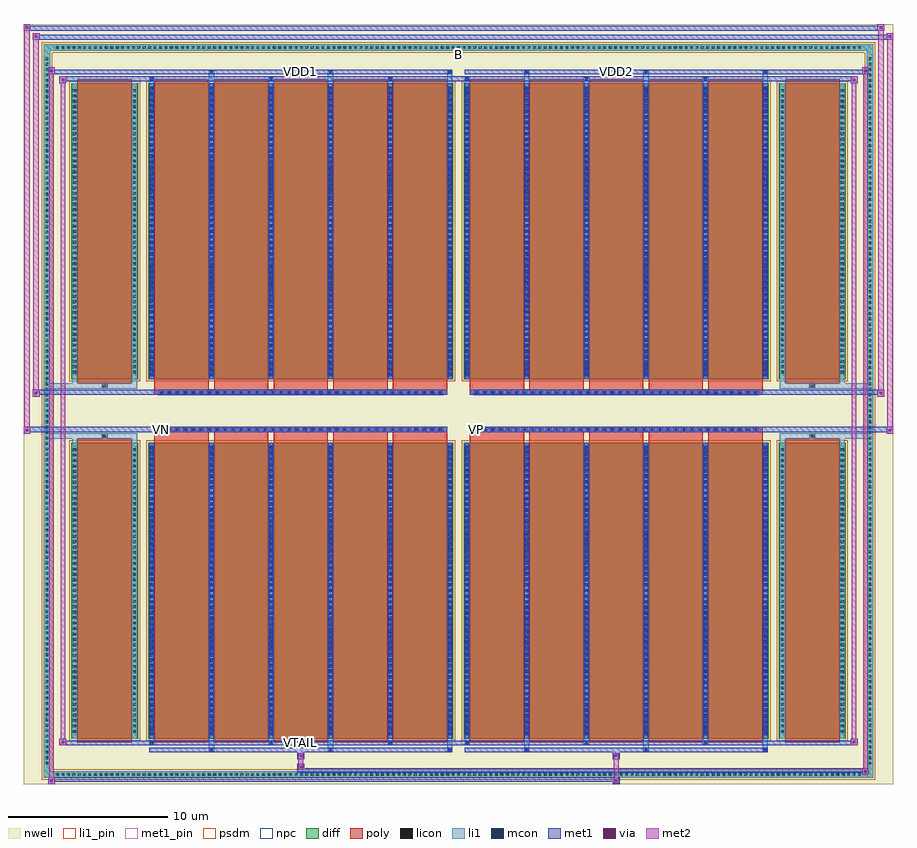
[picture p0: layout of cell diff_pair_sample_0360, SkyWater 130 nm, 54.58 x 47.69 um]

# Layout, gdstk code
import gdstk
lib = gdstk.Library(unit=1e-6, precision=5e-09)
def R(c, l, rs):  # rectangles x0, y0, x1, y1
    for r in rs: c.add(gdstk.rectangle(r[:2], r[2:], *l))
def A(c, l, x, y, w, h, nx, ny, dx, dy):  # array of equal rectangles
    R(c, l, [(x+i*dx, y+j*dy, x+i*dx+w, y+j*dy+h) for i in range(nx) for j in range(ny)])
def P(c, l, *ps):  # polygons
    for p in ps: c.add(gdstk.Polygon(p, *l))
nwell = (64, 20)
diff = (65, 20)
poly = (66, 20)
licon = (66, 44)
li1_pin = (67, 16)
li1 = (67, 20)
mcon = (67, 44)
met1_pin = (68, 16)
met1 = (68, 20)
via = (68, 44)
met2 = (69, 20)
psdm = (94, 20)
npc = (95, 20)

diff_pair_sample_0360 = lib.new_cell('diff_pair_sample_0360')
R(diff_pair_sample_0360, nwell, [(-27.29,-23.41,27.29,24.28), (-24.61,-21.6,-0.01,-0.8), (0.01,-21.6,24.61,-0.8), (-24.61,0.8,-0.01,21.6), (0.01,0.8,24.61,21.6)])
A(diff_pair_sample_0360, diff, -25.365, -23.01, 0.41, 0.41, 149, 2, 0.34, 45.61)
A(diff_pair_sample_0360, diff, -26.02, -22.305, 0.41, 0.41, 1, 131, 0, 0.34)
A(diff_pair_sample_0360, diff, 25.61, -22.305, 0.41, 0.41, 1, 131, 0, 0.34)
R(diff_pair_sample_0360, diff, [(-25.365,-23.01,25.365,-22.6), (-26.02,-22.305,-25.61,22.305), (25.61,-22.305,26.02,22.305), (-24.3,-20.555,-20.11,-1.985), (-19.47,-20.555,-0.32,-1.985), (0.32,-20.555,19.47,-1.985), (20.11,-20.555,24.3,-1.985), (-24.3,1.985,-20.11,20.555), (-19.47,1.985,-0.32,20.555), (0.32,1.985,19.47,20.555), (20.11,1.985,24.3,20.555), (-25.365,22.6,25.365,23.01)])
P(diff_pair_sample_0360, diff, [(26.02,23.01),(-26.02,23.01),(-26.02,-22.6),(-25.61,-22.6),(-25.61,22.6),(25.61,22.6),(25.61,-22.6),(-25.61,-22.6),(-26.02,-22.6),(-26.02,-23.01),(26.02,-23.01)])
A(diff_pair_sample_0360, poly, -19.08, -20.805, 3.41, 19.07, 5, 2, 3.74, 22.54)
A(diff_pair_sample_0360, poly, 0.71, -20.805, 3.41, 19.07, 5, 2, 3.74, 22.54)
A(diff_pair_sample_0360, poly, -19.08, -1.735, 3.41, 0.405, 5, 2, 3.74, 3.065)
A(diff_pair_sample_0360, poly, 0.71, -1.735, 3.41, 0.405, 5, 2, 3.74, 3.065)
A(diff_pair_sample_0360, poly, -18.81, -1.33, 0.33, 0.33, 36, 2, 0.5, 2.33)
A(diff_pair_sample_0360, poly, 0.98, -1.33, 0.33, 0.33, 36, 2, 0.5, 2.33)
R(diff_pair_sample_0360, poly, [(-23.91,-20.805,-20.5,-1.735), (20.5,-20.805,23.91,-1.735), (-22.37,-1.735,-22.04,-1.405), (-22.37,-1.735,-22.04,-1.405), (22.04,-1.735,22.37,-1.405), (22.04,-1.735,22.37,-1.405), (-19.08,-1.33,-0.71,-1), (0.71,-1.33,19.08,-1), (-19.08,1,-0.71,1.33), (0.71,1,19.08,1.33), (-22.37,1.405,-22.04,1.735), (-22.37,1.405,-22.04,1.735), (22.04,1.405,22.37,1.735), (22.04,1.405,22.37,1.735), (-23.91,1.735,-20.5,20.805), (20.5,1.735,23.91,20.805)])
A(diff_pair_sample_0360, licon, -25.245, -22.89, 0.17, 0.17, 149, 2, 0.34, 45.61)
A(diff_pair_sample_0360, licon, -25.9, -22.185, 0.17, 0.17, 1, 131, 0, 0.34)
A(diff_pair_sample_0360, licon, 25.73, -22.185, 0.17, 0.17, 1, 131, 0, 0.34)
A(diff_pair_sample_0360, licon, -24.16, -20.195, 0.17, 0.17, 1, 53, 0, 0.34)
A(diff_pair_sample_0360, licon, -20.42, -20.195, 0.17, 0.17, 1, 53, 0, 0.34)
A(diff_pair_sample_0360, licon, -19.33, -20.195, 0.17, 0.17, 6, 53, 3.74, 0.34)
A(diff_pair_sample_0360, licon, 0.46, -20.195, 0.17, 0.17, 6, 53, 3.74, 0.34)
A(diff_pair_sample_0360, licon, 20.25, -20.195, 0.17, 0.17, 1, 53, 0, 0.34)
A(diff_pair_sample_0360, licon, 23.99, -20.195, 0.17, 0.17, 1, 53, 0, 0.34)
A(diff_pair_sample_0360, licon, -18.73, -1.25, 0.17, 0.17, 36, 2, 0.5, 2.33)
A(diff_pair_sample_0360, licon, 1.06, -1.25, 0.17, 0.17, 36, 2, 0.5, 2.33)
A(diff_pair_sample_0360, licon, -24.16, 2.345, 0.17, 0.17, 1, 53, 0, 0.34)
A(diff_pair_sample_0360, licon, -20.42, 2.345, 0.17, 0.17, 1, 53, 0, 0.34)
A(diff_pair_sample_0360, licon, -19.33, 2.345, 0.17, 0.17, 6, 53, 3.74, 0.34)
A(diff_pair_sample_0360, licon, 0.46, 2.345, 0.17, 0.17, 6, 53, 3.74, 0.34)
A(diff_pair_sample_0360, licon, 20.25, 2.345, 0.17, 0.17, 1, 53, 0, 0.34)
A(diff_pair_sample_0360, licon, 23.99, 2.345, 0.17, 0.17, 1, 53, 0, 0.34)
R(diff_pair_sample_0360, licon, [(-22.29,-1.655,-22.12,-1.485), (22.12,-1.655,22.29,-1.485), (-22.29,1.485,-22.12,1.655), (22.12,1.485,22.29,1.655)])
R(diff_pair_sample_0360, li1_pin, [(-0.25,22.1,0.25,22.6)])
A(diff_pair_sample_0360, li1, -25.325, -22.97, 0.33, 0.33, 149, 2, 0.34, 45.61)
A(diff_pair_sample_0360, li1, -25.98, -22.265, 0.33, 0.33, 1, 131, 0, 0.34)
A(diff_pair_sample_0360, li1, 25.65, -22.265, 0.33, 0.33, 1, 131, 0, 0.34)
A(diff_pair_sample_0360, li1, -15.67, -21.36, 0.33, 0.805, 3, 2, 7.48, 41.915)
A(diff_pair_sample_0360, li1, -15.59, -21.36, 0.17, 0.17, 3, 2, 7.48, 42.55)
A(diff_pair_sample_0360, li1, 4.12, -21.36, 0.33, 0.805, 3, 2, 7.48, 41.915)
A(diff_pair_sample_0360, li1, 4.2, -21.36, 0.17, 0.17, 3, 2, 7.48, 42.55)
A(diff_pair_sample_0360, li1, -19.41, -20.93, 0.33, 0.375, 3, 2, 7.48, 41.485)
A(diff_pair_sample_0360, li1, -19.33, -20.93, 0.17, 0.17, 3, 2, 7.48, 41.69)
A(diff_pair_sample_0360, li1, 0.38, -20.93, 0.33, 0.375, 3, 2, 7.48, 41.485)
A(diff_pair_sample_0360, li1, 0.46, -20.93, 0.17, 0.17, 3, 2, 7.48, 41.69)
A(diff_pair_sample_0360, li1, -19.41, -20.555, 0.33, 18.57, 6, 2, 3.74, 22.54)
A(diff_pair_sample_0360, li1, 0.38, -20.555, 0.33, 18.57, 6, 2, 3.74, 22.54)
A(diff_pair_sample_0360, li1, -19.33, -20.355, 0.17, 0.17, 6, 51, 3.74, 0.36)
A(diff_pair_sample_0360, li1, -19.33, -20.355, 0.17, 18.17, 6, 2, 3.74, 22.54)
A(diff_pair_sample_0360, li1, 0.46, -20.355, 0.17, 0.17, 6, 51, 3.74, 0.36)
A(diff_pair_sample_0360, li1, 0.46, -20.355, 0.17, 18.17, 6, 2, 3.74, 22.54)
A(diff_pair_sample_0360, li1, -24.24, -20.275, 0.33, 0.33, 1, 53, 0, 0.34)
A(diff_pair_sample_0360, li1, -20.5, -20.275, 0.33, 0.33, 1, 53, 0, 0.34)
A(diff_pair_sample_0360, li1, -19.41, -20.275, 0.33, 0.33, 6, 53, 3.74, 0.34)
A(diff_pair_sample_0360, li1, 0.38, -20.275, 0.33, 0.33, 6, 53, 3.74, 0.34)
A(diff_pair_sample_0360, li1, 20.17, -20.275, 0.33, 0.33, 1, 53, 0, 0.34)
A(diff_pair_sample_0360, li1, 23.91, -20.275, 0.33, 0.33, 1, 53, 0, 0.34)
A(diff_pair_sample_0360, li1, -18.81, -1.33, 0.33, 0.33, 36, 2, 0.5, 2.33)
A(diff_pair_sample_0360, li1, 0.98, -1.33, 0.33, 0.33, 36, 2, 0.5, 2.33)
A(diff_pair_sample_0360, li1, -19.33, 2.185, 0.17, 0.17, 6, 51, 3.74, 0.36)
A(diff_pair_sample_0360, li1, 0.46, 2.185, 0.17, 0.17, 6, 51, 3.74, 0.36)
A(diff_pair_sample_0360, li1, -24.24, 2.265, 0.33, 0.33, 1, 53, 0, 0.34)
A(diff_pair_sample_0360, li1, -20.5, 2.265, 0.33, 0.33, 1, 53, 0, 0.34)
A(diff_pair_sample_0360, li1, -19.41, 2.265, 0.33, 0.33, 6, 53, 3.74, 0.34)
A(diff_pair_sample_0360, li1, 0.38, 2.265, 0.33, 0.33, 6, 53, 3.74, 0.34)
A(diff_pair_sample_0360, li1, 20.17, 2.265, 0.33, 0.33, 1, 53, 0, 0.34)
A(diff_pair_sample_0360, li1, 23.91, 2.265, 0.33, 0.33, 1, 53, 0, 0.34)
R(diff_pair_sample_0360, li1, [(-26.02,-23.01,-25.61,-22.6), (-26.02,-23.01,-25.61,-22.6), (-25.61,-23.01,25.61,-22.6), (25.61,-23.01,26.02,-22.6), (25.61,-23.01,26.02,-22.6), (-26.02,-22.6,-25.61,22.6), (25.61,-22.6,26.02,22.6), (-24.24,-20.555,-23.91,-1.985), (-20.5,-20.555,-20.17,-1.985), (20.17,-20.555,20.5,-1.985), (23.91,-20.555,24.24,-1.985), (-24.24,-1.985,-23.91,-1.405), (-20.5,-1.985,-20.17,-1.405), (20.17,-1.985,20.5,-1.405), (23.91,-1.985,24.24,-1.405), (-26.02,-1.735,-22.37,-1.405), (-24.24,-1.735,-22.37,-1.405), (-22.37,-1.735,-22.04,-1.405), (-22.04,-1.735,-20.17,-1.405), (20.17,-1.735,22.04,-1.405), (22.04,-1.735,22.37,-1.405), (22.04,-1.735,26.02,-1.405), (22.37,-1.735,24.24,-1.405), (-26.02,1.405,-22.37,1.735), (-24.24,1.405,-22.37,1.735), (-24.24,1.405,-23.91,1.985), (-22.37,1.405,-22.04,1.735), (-22.04,1.405,-20.17,1.735), (-20.5,1.405,-20.17,1.985), (20.17,1.405,22.04,1.735), (20.17,1.405,20.5,1.985), (22.04,1.405,22.37,1.735), (22.04,1.405,26.02,1.735), (22.37,1.405,24.24,1.735), (23.91,1.405,24.24,1.985), (-24.24,1.985,-23.91,20.555), (-20.5,1.985,-20.17,20.555), (20.17,1.985,20.5,20.555), (23.91,1.985,24.24,20.555), (-26.02,22.6,-25.61,23.01), (-26.02,22.6,-25.61,23.01), (-25.61,22.6,25.61,23.01), (25.61,22.6,26.02,23.01), (25.61,22.6,26.02,23.01)])
A(diff_pair_sample_0360, mcon, -15.59, -21.36, 0.17, 0.17, 3, 2, 7.48, 42.55)
A(diff_pair_sample_0360, mcon, 4.2, -21.36, 0.17, 0.17, 3, 2, 7.48, 42.55)
A(diff_pair_sample_0360, mcon, -19.33, -20.93, 0.17, 0.17, 3, 2, 7.48, 41.69)
A(diff_pair_sample_0360, mcon, 0.46, -20.93, 0.17, 0.17, 3, 2, 7.48, 41.69)
A(diff_pair_sample_0360, mcon, -19.33, -20.355, 0.17, 0.17, 6, 51, 3.74, 0.36)
A(diff_pair_sample_0360, mcon, 0.46, -20.355, 0.17, 0.17, 6, 51, 3.74, 0.36)
A(diff_pair_sample_0360, mcon, -18.73, -1.25, 0.17, 0.17, 36, 2, 0.5, 2.33)
A(diff_pair_sample_0360, mcon, 1.06, -1.25, 0.17, 0.17, 36, 2, 0.5, 2.33)
A(diff_pair_sample_0360, mcon, -19.33, 2.185, 0.17, 0.17, 6, 51, 3.74, 0.36)
A(diff_pair_sample_0360, mcon, 0.46, 2.185, 0.17, 0.17, 6, 51, 3.74, 0.36)
R(diff_pair_sample_0360, met1_pin, [(-10.03,-20.97,-9.76,-20.7), (-18.78,-1.29,-18.51,-1.02), (1.01,-1.29,1.28,-1.02), (-10.03,21.15,-9.76,21.42), (9.76,21.15,10.03,21.42)])
A(diff_pair_sample_0360, met1, -15.65, -21.42, 0.29, 0.29, 3, 2, 7.48, 42.55)
A(diff_pair_sample_0360, met1, 4.14, -21.42, 0.29, 0.29, 3, 2, 7.48, 42.55)
A(diff_pair_sample_0360, met1, -19.39, -20.99, 0.29, 0.29, 3, 2, 7.48, 41.69)
A(diff_pair_sample_0360, met1, 0.4, -20.99, 0.29, 0.29, 3, 2, 7.48, 41.69)
A(diff_pair_sample_0360, met1, -19.39, -20.555, 0.29, 18.57, 6, 2, 3.74, 22.54)
A(diff_pair_sample_0360, met1, 0.4, -20.555, 0.29, 18.57, 6, 2, 3.74, 22.54)
A(diff_pair_sample_0360, met1, -19.39, -20.415, 0.29, 0.29, 6, 51, 3.74, 0.36)
A(diff_pair_sample_0360, met1, 0.4, -20.415, 0.29, 0.29, 6, 51, 3.74, 0.36)
A(diff_pair_sample_0360, met1, -18.79, -1.31, 0.29, 0.29, 36, 2, 0.5, 2.33)
A(diff_pair_sample_0360, met1, 1, -1.31, 0.29, 0.29, 36, 2, 0.5, 2.33)
A(diff_pair_sample_0360, met1, -19.39, 2.125, 0.29, 0.29, 6, 51, 3.74, 0.36)
A(diff_pair_sample_0360, met1, 0.4, 2.125, 0.29, 0.29, 6, 51, 3.74, 0.36)
R(diff_pair_sample_0360, met1, [(-25.75,-23.41,-25.32,-22.98), (9.68,-23.41,10.11,-22.98), (-25.75,-23.27,10.11,-22.98), (25.32,-22.84,25.75,-22.41), (-10.11,-22.7,25.75,-22.41), (-10.11,-22.56,-9.68,-22.13), (-10.11,-21.85,-9.68,-21.42), (9.68,-21.85,10.11,-21.42), (-19.39,-21.42,-0.4,-21.13), (0.4,-21.42,19.39,-21.13), (-25.04,-20.99,-24.61,-20.56), (-25.04,-20.99,-19.39,-20.7), (-19.39,-20.99,-0.4,-20.7), (-0.4,-20.99,0.4,-20.7), (0.4,-20.99,19.39,-20.7), (19.39,-20.99,25.04,-20.7), (24.61,-20.99,25.04,-20.56), (-27.29,-1.43,-26.86,-1), (26.86,-1.43,27.29,-1), (-27.29,-1.33,-0.71,-1), (-19.08,-1.33,-0.71,-1), (0.71,-1.33,19.08,-1), (0.71,-1.33,27.29,-1), (-26.72,0.9,-26.29,1.33), (26.29,0.9,26.72,1.33), (-26.72,1,-19.08,1.33), (-19.08,1,-0.71,1.33), (0.71,1,19.08,1.33), (19.08,1,26.72,1.33), (-25.04,20.56,-24.61,20.99), (24.61,20.56,25.04,20.99), (-25.04,20.7,-19.39,20.99), (-19.39,20.7,-0.4,20.99), (-0.4,20.7,0.4,20.99), (0.4,20.7,19.39,20.99), (19.39,20.7,25.04,20.99), (-25.75,21.13,-25.32,21.56), (-25.75,21.13,-19.39,21.42), (-19.39,21.13,-0.4,21.42), (0.4,21.13,19.39,21.42), (19.39,21.13,25.75,21.42), (25.32,21.13,25.75,21.56), (-26.72,23.28,-26.29,23.71), (-26.72,23.28,-24.61,23.61), (-24.61,23.28,24.61,23.61), (24.61,23.28,27.29,23.61), (26.86,23.28,27.29,23.71), (-27.29,23.85,-26.86,24.28), (-27.29,23.85,-24.61,24.18), (-24.61,23.85,24.61,24.18), (24.61,23.85,26.72,24.18), (26.29,23.85,26.72,24.28)])
R(diff_pair_sample_0360, via, [(-25.61,-23.27,-25.46,-23.12), (9.82,-23.27,9.97,-23.12), (25.46,-22.7,25.61,-22.55), (-9.97,-22.42,-9.82,-22.27), (-9.97,-21.71,-9.82,-21.56), (9.82,-21.71,9.97,-21.56), (-24.9,-20.85,-24.75,-20.7), (24.75,-20.85,24.9,-20.7), (-27.15,-1.29,-27,-1.14), (27,-1.29,27.15,-1.14), (-26.58,1.04,-26.43,1.19), (26.43,1.04,26.58,1.19), (-24.9,20.7,-24.75,20.85), (24.75,20.7,24.9,20.85), (-25.61,21.27,-25.46,21.42), (25.46,21.27,25.61,21.42), (-26.58,23.42,-26.43,23.57), (27,23.42,27.15,23.57), (-27.15,23.99,-27,24.14), (26.43,23.99,26.58,24.14)])
R(diff_pair_sample_0360, met2, [(-25.75,-23.41,-25.32,-22.98), (-25.68,-23.41,-25.39,21.56), (-25.39,-23.41,-25.32,-22.98), (-25.7,-23.36,-25.37,-23.03), (9.73,-23.36,10.06,-23.03), (9.73,-23.03,10.06,-21.8), (25.32,-22.84,25.75,-22.41), (25.39,-22.84,25.68,21.56), (25.68,-22.84,25.75,-22.41), (25.37,-22.79,25.7,-22.46), (-10.06,-22.51,-9.73,-22.18), (-10.06,-22.18,-9.73,-21.8), (-10.06,-21.8,-9.73,-21.47), (9.73,-21.8,10.06,-21.47), (-25.04,-20.99,-24.61,-20.56), (-24.97,-20.99,-24.68,20.99), (-24.68,-20.99,-24.61,-20.56), (24.61,-20.99,25.04,-20.56), (24.68,-20.99,24.97,20.99), (24.97,-20.99,25.04,-20.56), (-24.99,-20.94,-24.66,-20.61), (24.66,-20.94,24.99,-20.61), (-27.29,-1.43,-26.86,-1), (-27.24,-1.43,-26.91,24.28), (-26.91,-1.43,-26.86,-1), (26.86,-1.43,27.29,-1), (26.91,-1.43,27.24,23.71), (27.24,-1.43,27.29,-1), (-27.24,-1.38,-26.91,-1.05), (26.91,-1.38,27.24,-1.05), (-26.72,0.9,-26.29,1.33), (-26.67,0.9,-26.34,23.71), (-26.34,0.9,-26.29,1.33), (26.29,0.9,26.72,1.33), (26.34,0.9,26.67,24.28), (26.67,0.9,26.72,1.33), (-26.67,0.95,-26.34,1.28), (26.34,0.95,26.67,1.28), (-25.04,20.56,-24.61,20.99), (-24.68,20.56,-24.61,20.99), (24.61,20.56,25.04,20.99), (24.97,20.56,25.04,20.99), (-24.99,20.61,-24.66,20.94), (24.66,20.61,24.99,20.94), (-25.75,21.13,-25.32,21.56), (-25.39,21.13,-25.32,21.56), (25.32,21.13,25.75,21.56), (25.68,21.13,25.75,21.56), (-25.7,21.18,-25.37,21.51), (25.37,21.18,25.7,21.51), (-26.72,23.28,-26.29,23.71), (-26.34,23.28,-26.29,23.71), (26.86,23.28,27.29,23.71), (27.24,23.28,27.29,23.71), (-26.67,23.33,-26.34,23.66), (26.91,23.33,27.24,23.66), (-27.29,23.85,-26.86,24.28), (-26.91,23.85,-26.86,24.28), (26.29,23.85,26.72,24.28), (26.67,23.85,26.72,24.28), (-27.24,23.9,-26.91,24.23), (26.34,23.9,26.67,24.23)])
R(diff_pair_sample_0360, psdm, [(-24.43,-20.685,-19.98,-1.855), (-19.6,-20.685,-0.19,-1.855), (0.19,-20.685,19.6,-1.855), (19.98,-20.685,24.43,-1.855), (-24.43,1.855,-19.98,20.685), (-19.6,1.855,-0.19,20.685), (0.19,1.855,19.6,20.685), (19.98,1.855,24.43,20.685)])
P(diff_pair_sample_0360, psdm, [(26.15,23.14),(-26.15,23.14),(-26.15,-22.47),(-25.48,-22.47),(-25.48,22.47),(25.48,22.47),(25.48,-22.47),(-25.48,-22.47),(-26.15,-22.47),(-26.15,-23.14),(26.15,-23.14)])
A(diff_pair_sample_0360, npc, -18.83, -1.35, 0.37, 0.37, 36, 2, 0.5, 2.33)
A(diff_pair_sample_0360, npc, 0.96, -1.35, 0.37, 0.37, 36, 2, 0.5, 2.33)
R(diff_pair_sample_0360, npc, [(-22.39,-1.755,-22.02,-1.385), (22.02,-1.755,22.39,-1.385), (-18.83,-1.35,-17.96,-0.98), (-18.83,-1.35,-17.96,-0.98), (-18.33,-1.35,-17.46,-0.98), (-18.33,-1.35,-17.46,-0.98), (-17.83,-1.35,-16.96,-0.98), (-17.83,-1.35,-16.96,-0.98), (-17.33,-1.35,-16.46,-0.98), (-17.33,-1.35,-16.46,-0.98), (-16.83,-1.35,-15.96,-0.98), (-16.83,-1.35,-15.96,-0.98), (-16.33,-1.35,-15.46,-0.98), (-16.33,-1.35,-15.46,-0.98), (-15.83,-1.35,-14.96,-0.98), (-15.83,-1.35,-14.96,-0.98), (-15.33,-1.35,-14.46,-0.98), (-15.33,-1.35,-14.46,-0.98), (-14.83,-1.35,-13.96,-0.98), (-14.83,-1.35,-13.96,-0.98), (-14.33,-1.35,-13.46,-0.98), (-14.33,-1.35,-13.46,-0.98), (-13.83,-1.35,-12.96,-0.98), (-13.83,-1.35,-12.96,-0.98), (-13.33,-1.35,-12.46,-0.98), (-13.33,-1.35,-12.46,-0.98), (-12.83,-1.35,-11.96,-0.98), (-12.83,-1.35,-11.96,-0.98), (-12.33,-1.35,-11.46,-0.98), (-12.33,-1.35,-11.46,-0.98), (-11.83,-1.35,-10.96,-0.98), (-11.83,-1.35,-10.96,-0.98), (-11.33,-1.35,-10.46,-0.98), (-11.33,-1.35,-10.46,-0.98), (-10.83,-1.35,-9.96,-0.98), (-10.83,-1.35,-9.96,-0.98), (-10.33,-1.35,-9.46,-0.98), (-10.33,-1.35,-9.46,-0.98), (-9.83,-1.35,-8.96,-0.98), (-9.83,-1.35,-8.96,-0.98), (-9.33,-1.35,-8.46,-0.98), (-9.33,-1.35,-8.46,-0.98), (-8.83,-1.35,-7.96,-0.98), (-8.83,-1.35,-7.96,-0.98), (-8.33,-1.35,-7.46,-0.98), (-8.33,-1.35,-7.46,-0.98), (-7.83,-1.35,-6.96,-0.98), (-7.83,-1.35,-6.96,-0.98), (-7.33,-1.35,-6.46,-0.98), (-7.33,-1.35,-6.46,-0.98), (-6.83,-1.35,-5.96,-0.98), (-6.83,-1.35,-5.96,-0.98), (-6.33,-1.35,-5.46,-0.98), (-6.33,-1.35,-5.46,-0.98), (-5.83,-1.35,-4.96,-0.98), (-5.83,-1.35,-4.96,-0.98), (-5.33,-1.35,-4.46,-0.98), (-5.33,-1.35,-4.46,-0.98), (-4.83,-1.35,-3.96,-0.98), (-4.83,-1.35,-3.96,-0.98), (-4.33,-1.35,-3.46,-0.98), (-4.33,-1.35,-3.46,-0.98), (-3.83,-1.35,-2.96,-0.98), (-3.83,-1.35,-2.96,-0.98), (-3.33,-1.35,-2.46,-0.98), (-3.33,-1.35,-2.46,-0.98), (-2.83,-1.35,-1.96,-0.98), (-2.83,-1.35,-1.96,-0.98), (-2.33,-1.35,-1.46,-0.98), (-2.33,-1.35,-1.46,-0.98), (-1.83,-1.35,-0.96,-0.98), (-1.83,-1.35,-0.96,-0.98), (0.96,-1.35,1.83,-0.98), (0.96,-1.35,1.83,-0.98), (1.46,-1.35,2.33,-0.98), (1.46,-1.35,2.33,-0.98), (1.96,-1.35,2.83,-0.98), (1.96,-1.35,2.83,-0.98), (2.46,-1.35,3.33,-0.98), (2.46,-1.35,3.33,-0.98), (2.96,-1.35,3.83,-0.98), (2.96,-1.35,3.83,-0.98), (3.46,-1.35,4.33,-0.98), (3.46,-1.35,4.33,-0.98), (3.96,-1.35,4.83,-0.98), (3.96,-1.35,4.83,-0.98), (4.46,-1.35,5.33,-0.98), (4.46,-1.35,5.33,-0.98), (4.96,-1.35,5.83,-0.98), (4.96,-1.35,5.83,-0.98), (5.46,-1.35,6.33,-0.98), (5.46,-1.35,6.33,-0.98), (5.96,-1.35,6.83,-0.98), (5.96,-1.35,6.83,-0.98), (6.46,-1.35,7.33,-0.98), (6.46,-1.35,7.33,-0.98), (6.96,-1.35,7.83,-0.98), (6.96,-1.35,7.83,-0.98), (7.46,-1.35,8.33,-0.98), (7.46,-1.35,8.33,-0.98), (7.96,-1.35,8.83,-0.98), (7.96,-1.35,8.83,-0.98), (8.46,-1.35,9.33,-0.98), (8.46,-1.35,9.33,-0.98), (8.96,-1.35,9.83,-0.98), (8.96,-1.35,9.83,-0.98), (9.46,-1.35,10.33,-0.98), (9.46,-1.35,10.33,-0.98), (9.96,-1.35,10.83,-0.98), (9.96,-1.35,10.83,-0.98), (10.46,-1.35,11.33,-0.98), (10.46,-1.35,11.33,-0.98), (10.96,-1.35,11.83,-0.98), (10.96,-1.35,11.83,-0.98), (11.46,-1.35,12.33,-0.98), (11.46,-1.35,12.33,-0.98), (11.96,-1.35,12.83,-0.98), (11.96,-1.35,12.83,-0.98), (12.46,-1.35,13.33,-0.98), (12.46,-1.35,13.33,-0.98), (12.96,-1.35,13.83,-0.98), (12.96,-1.35,13.83,-0.98), (13.46,-1.35,14.33,-0.98), (13.46,-1.35,14.33,-0.98), (13.96,-1.35,14.83,-0.98), (13.96,-1.35,14.83,-0.98), (14.46,-1.35,15.33,-0.98), (14.46,-1.35,15.33,-0.98), (14.96,-1.35,15.83,-0.98), (14.96,-1.35,15.83,-0.98), (15.46,-1.35,16.33,-0.98), (15.46,-1.35,16.33,-0.98), (15.96,-1.35,16.83,-0.98), (15.96,-1.35,16.83,-0.98), (16.46,-1.35,17.33,-0.98), (16.46,-1.35,17.33,-0.98), (16.96,-1.35,17.83,-0.98), (16.96,-1.35,17.83,-0.98), (17.46,-1.35,18.33,-0.98), (17.46,-1.35,18.33,-0.98), (17.96,-1.35,18.83,-0.98), (17.96,-1.35,18.83,-0.98), (-18.83,0.98,-17.96,1.35), (-18.83,0.98,-17.96,1.35), (-18.33,0.98,-17.46,1.35), (-18.33,0.98,-17.46,1.35), (-17.83,0.98,-16.96,1.35), (-17.83,0.98,-16.96,1.35), (-17.33,0.98,-16.46,1.35), (-17.33,0.98,-16.46,1.35), (-16.83,0.98,-15.96,1.35), (-16.83,0.98,-15.96,1.35), (-16.33,0.98,-15.46,1.35), (-16.33,0.98,-15.46,1.35), (-15.83,0.98,-14.96,1.35), (-15.83,0.98,-14.96,1.35), (-15.33,0.98,-14.46,1.35), (-15.33,0.98,-14.46,1.35), (-14.83,0.98,-13.96,1.35), (-14.83,0.98,-13.96,1.35), (-14.33,0.98,-13.46,1.35), (-14.33,0.98,-13.46,1.35), (-13.83,0.98,-12.96,1.35), (-13.83,0.98,-12.96,1.35), (-13.33,0.98,-12.46,1.35), (-13.33,0.98,-12.46,1.35), (-12.83,0.98,-11.96,1.35), (-12.83,0.98,-11.96,1.35), (-12.33,0.98,-11.46,1.35), (-12.33,0.98,-11.46,1.35), (-11.83,0.98,-10.96,1.35), (-11.83,0.98,-10.96,1.35), (-11.33,0.98,-10.46,1.35), (-11.33,0.98,-10.46,1.35), (-10.83,0.98,-9.96,1.35), (-10.83,0.98,-9.96,1.35), (-10.33,0.98,-9.46,1.35), (-10.33,0.98,-9.46,1.35), (-9.83,0.98,-8.96,1.35), (-9.83,0.98,-8.96,1.35), (-9.33,0.98,-8.46,1.35), (-9.33,0.98,-8.46,1.35), (-8.83,0.98,-7.96,1.35), (-8.83,0.98,-7.96,1.35), (-8.33,0.98,-7.46,1.35), (-8.33,0.98,-7.46,1.35), (-7.83,0.98,-6.96,1.35), (-7.83,0.98,-6.96,1.35), (-7.33,0.98,-6.46,1.35), (-7.33,0.98,-6.46,1.35), (-6.83,0.98,-5.96,1.35), (-6.83,0.98,-5.96,1.35), (-6.33,0.98,-5.46,1.35), (-6.33,0.98,-5.46,1.35), (-5.83,0.98,-4.96,1.35), (-5.83,0.98,-4.96,1.35), (-5.33,0.98,-4.46,1.35), (-5.33,0.98,-4.46,1.35), (-4.83,0.98,-3.96,1.35), (-4.83,0.98,-3.96,1.35), (-4.33,0.98,-3.46,1.35), (-4.33,0.98,-3.46,1.35), (-3.83,0.98,-2.96,1.35), (-3.83,0.98,-2.96,1.35), (-3.33,0.98,-2.46,1.35), (-3.33,0.98,-2.46,1.35), (-2.83,0.98,-1.96,1.35), (-2.83,0.98,-1.96,1.35), (-2.33,0.98,-1.46,1.35), (-2.33,0.98,-1.46,1.35), (-1.83,0.98,-0.96,1.35), (-1.83,0.98,-0.96,1.35), (0.96,0.98,1.83,1.35), (0.96,0.98,1.83,1.35), (1.46,0.98,2.33,1.35), (1.46,0.98,2.33,1.35), (1.96,0.98,2.83,1.35), (1.96,0.98,2.83,1.35), (2.46,0.98,3.33,1.35), (2.46,0.98,3.33,1.35), (2.96,0.98,3.83,1.35), (2.96,0.98,3.83,1.35), (3.46,0.98,4.33,1.35), (3.46,0.98,4.33,1.35), (3.96,0.98,4.83,1.35), (3.96,0.98,4.83,1.35), (4.46,0.98,5.33,1.35), (4.46,0.98,5.33,1.35), (4.96,0.98,5.83,1.35), (4.96,0.98,5.83,1.35), (5.46,0.98,6.33,1.35), (5.46,0.98,6.33,1.35), (5.96,0.98,6.83,1.35), (5.96,0.98,6.83,1.35), (6.46,0.98,7.33,1.35), (6.46,0.98,7.33,1.35), (6.96,0.98,7.83,1.35), (6.96,0.98,7.83,1.35), (7.46,0.98,8.33,1.35), (7.46,0.98,8.33,1.35), (7.96,0.98,8.83,1.35), (7.96,0.98,8.83,1.35), (8.46,0.98,9.33,1.35), (8.46,0.98,9.33,1.35), (8.96,0.98,9.83,1.35), (8.96,0.98,9.83,1.35), (9.46,0.98,10.33,1.35), (9.46,0.98,10.33,1.35), (9.96,0.98,10.83,1.35), (9.96,0.98,10.83,1.35), (10.46,0.98,11.33,1.35), (10.46,0.98,11.33,1.35), (10.96,0.98,11.83,1.35), (10.96,0.98,11.83,1.35), (11.46,0.98,12.33,1.35), (11.46,0.98,12.33,1.35), (11.96,0.98,12.83,1.35), (11.96,0.98,12.83,1.35), (12.46,0.98,13.33,1.35), (12.46,0.98,13.33,1.35), (12.96,0.98,13.83,1.35), (12.96,0.98,13.83,1.35), (13.46,0.98,14.33,1.35), (13.46,0.98,14.33,1.35), (13.96,0.98,14.83,1.35), (13.96,0.98,14.83,1.35), (14.46,0.98,15.33,1.35), (14.46,0.98,15.33,1.35), (14.96,0.98,15.83,1.35), (14.96,0.98,15.83,1.35), (15.46,0.98,16.33,1.35), (15.46,0.98,16.33,1.35), (15.96,0.98,16.83,1.35), (15.96,0.98,16.83,1.35), (16.46,0.98,17.33,1.35), (16.46,0.98,17.33,1.35), (16.96,0.98,17.83,1.35), (16.96,0.98,17.83,1.35), (17.46,0.98,18.33,1.35), (17.46,0.98,18.33,1.35), (17.96,0.98,18.83,1.35), (17.96,0.98,18.83,1.35), (-22.39,1.385,-22.02,1.755), (22.02,1.385,22.39,1.755)])
diff_pair_sample_0360.add(gdstk.Label('VTAIL', (-9.895,-20.835), layer=68, texttype=5))
diff_pair_sample_0360.add(gdstk.Label('VN', (-18.645,-1.155), layer=68, texttype=5))
diff_pair_sample_0360.add(gdstk.Label('VP', (1.145,-1.155), layer=68, texttype=5))
diff_pair_sample_0360.add(gdstk.Label('B', (0,22.35), layer=67, texttype=5))
diff_pair_sample_0360.add(gdstk.Label('VDD2', (9.895,21.285), layer=68, texttype=5))
diff_pair_sample_0360.add(gdstk.Label('VDD1', (-9.895,21.285), layer=68, texttype=5))

lib.write_gds('diff_pair_sample_0360.gds')
